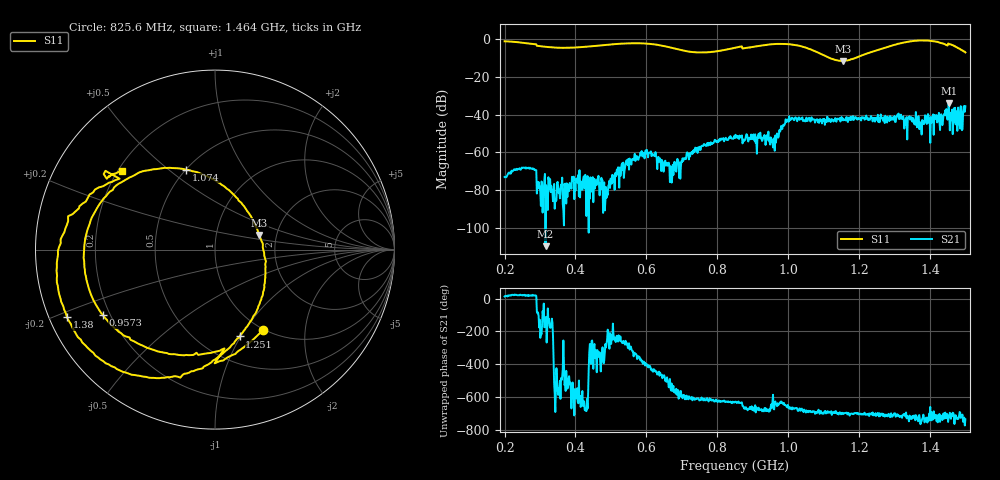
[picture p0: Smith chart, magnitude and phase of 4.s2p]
! NanoVNA-App
! Date: 2024-06-25 16:51:11
! Start: 200MHz Stop: 1.5GHz Points: 801
! S-Parameter data: F S11 S21 S12 S22
# Hz S RI R 50
!  Frequency  S11_Real  S11_Imag  S21_Real  S21_Imag  S12_Real  S12_Imag  S22_Real  S22_Imag
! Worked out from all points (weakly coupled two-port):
!   801 points, 200 MHz to 1.5 GHz, reference 50 ohm
!   highest |S21| = -33.82 dB at 1.453 GHz (marker M1); lowest = -109.5 dB at 315.4 MHz (marker M2)
!   lowest |S11| = -11.7 dB at 1.154 GHz (marker M3), VSWR 1.70, Z = 81.1 + j14.3 ohm
!   |S11| at or under -10 dB: 1.116 GHz to 1.191 GHz (75.53 MHz wide, 6.55 % of centre)
!   S12 and S22 are empty: the file has one direction only
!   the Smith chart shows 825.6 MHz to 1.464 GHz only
!   S11 on the Smith chart (normalised r, x): 825.6 MHz: 0.99, -1.21; 957.2 MHz: 0.17, -0.26; 1.074 GHz: 0.50, +0.58; 1.251 GHz: 0.76, -0.99; 1.38 GHz: 0.05, -0.22; 1.464 GHz: 0.21, +0.35
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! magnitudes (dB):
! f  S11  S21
! 200 MHz  -1.3  -73.0
! 278 MHz  -2.7  -68.8
! 315.4 MHz  -4.2  -109.5
! 417.8 MHz  -4.3  -78.9
! 484.4 MHz  -3.3  -85.3
! 567.2 MHz  -2.3  -60.8
! 633.9 MHz  -3.3  -62.4
! 671.2 MHz  -4.7  -76.0
! 825.6 MHz  -5.7  -53.2
! 850 MHz  -4.7  -52.5
! 957.2 MHz  -2.8  -57.4
! 999.5 MHz  -2.8  -42.7
! 1.068 GHz  -5.9  -42.8
! 1.074 GHz  -6.5  -42.8
! 1.154 GHz  -11.7  -42.0
! 1.251 GHz  -6.0  -43.0
! 1.284 GHz  -4.0  -42.3
! 1.38 GHz  -0.9  -44.9
! 1.453 GHz  -2.5  -33.8
! 1.464 GHz  -3.4  -50.3
! 1.489 GHz  -5.8  -38.8
! 1.5 GHz  -7.2  -35.6
